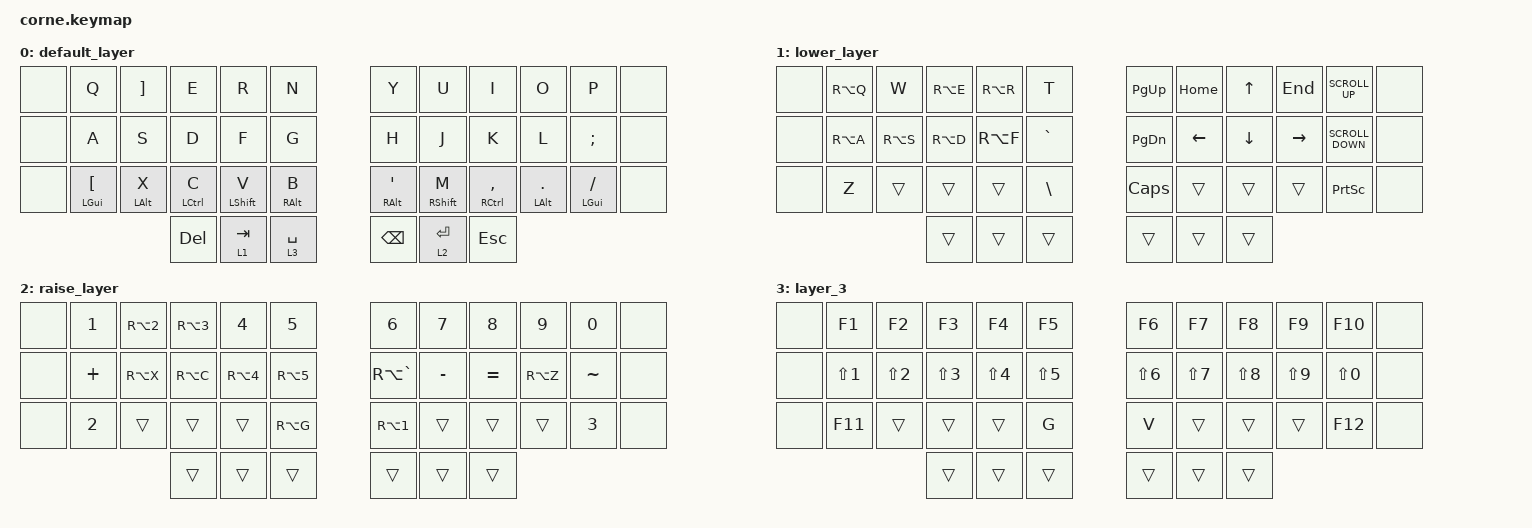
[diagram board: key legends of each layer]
/*
 * Copyright (c) 2020 The ZMK Contributors
 *
 * SPDX-License-Identifier: MIT
 */

#include <behaviors.dtsi>
#include <dt-bindings/zmk/keys.h>

/ {
    combos { compatible = "zmk,combos"; };

    keymap {
        compatible = "zmk,keymap";

        default_layer {
            // -----------------------------------------------------------------------------------------
            // |  TAB |  Q  |  W  |  E  |  R  |  T  |   |  Y  |  U   |  I  |  O  |  P  | BSPC |
            // | CTRL |  A  |  S  |  D  |  F  |  G  |   |  H  |  J   |  K  |  L  |  ;  |  '   |
            // | SHFT |  Z  |  X  |  C  |  V  |  B  |   |  N  |  M   |  ,  |  .  |  /  | ESC  |
            //                    | GUI | LWR | SPC |   | ENT | RSE  | ALT |

            bindings = <
&none  &kp Q                  &kp RIGHT_BRACKET  &kp E               &kp R             &kp N              &kp Y               &kp U              &kp I            &kp O                &kp P           &none
&none  &kp A                  &kp S              &kp D               &kp F             &kp G              &kp H               &kp J              &kp K            &kp L                &kp SEMICOLON   &none
&none  &mt LGUI LEFT_BRACKET  &mt LEFT_ALT X     &mt LEFT_CONTROL C  &mt LEFT_SHIFT V  &mt RIGHT_ALT B    &mt RIGHT_ALT APOS  &mt RIGHT_SHIFT M  &mt RCTRL COMMA  &mt LEFT_ALT PERIOD  &mt LGUI SLASH  &none
                                                 &kp DELETE          &lt 1 TAB         &lt 3 SPACE        &kp BACKSPACE       &lt 2 ENTER        &kp ESC
            >;
        };

        lower_layer {
            // -----------------------------------------------------------------------------------------
            // |  TAB |  1  |  2  |  3  |  4  |  5  |   |  6  |  7  |  8  |  9  |  0  | BSPC |
            // | BTCLR| BT1 | BT2 | BT3 | BT4 | BT5 |   | LFT | DWN |  UP | RGT |     |      |
            // | SHFT |     |     |     |     |     |   |     |     |     |     |     |      |
            //                    | GUI |     | SPC |   | ENT |     | ALT |

            bindings = <
&none  &kp RA(Q)  &kp W      &kp RA(E)  &kp RA(R)  &kp T            &kp PG_UP      &kp HOME        &kp UP_ARROW    &kp END    &kp K_SCROLL_UP    &none
&none  &kp RA(A)  &kp RA(S)  &kp RA(D)  &kp RA(F)  &kp GRAVE        &kp PAGE_DOWN  &kp LEFT_ARROW  &kp DOWN_ARROW  &kp RIGHT  &kp K_SCROLL_DOWN  &none
&none  &kp Z      &trans     &trans     &trans     &kp BACKSLASH    &kp CAPSLOCK   &trans          &trans          &trans     &kp PRINTSCREEN    &none
                             &trans     &trans     &trans           &trans         &trans          &trans
            >;
        };

        raise_layer {
            // -----------------------------------------------------------------------------------------
            // |  TAB |  !  |  @  |  #  |  $  |  %  |   |  ^  |  &  |  *  |  (  |  )  | BSPC |
            // | CTRL |     |     |     |     |     |   |  -  |  =  |  [  |  ]  |  \  |  `   |
            // | SHFT |     |     |     |     |     |   |  _  |  +  |  {  |  }  | "|" |  ~   |
            //                    | GUI |     | SPC |   | ENT |     | ALT |

            bindings = <
&none  &kp NUMBER_1  &kp RA(NUMBER_2)  &kp RA(NUMBER_3)  &kp NUMBER_4      &kp NUMBER_5        &kp NUMBER_6      &kp NUMBER_7  &kp N8     &kp N9     &kp NUMBER_0  &none
&none  &kp PLUS      &kp RA(X)         &kp RA(C)         &kp RA(NUMBER_4)  &kp RA(NUMBER_5)    &kp RA(GRAVE)     &kp MINUS     &kp EQUAL  &kp RA(Z)  &kp TILDE     &none
&none  &kp NUMBER_2  &trans            &trans            &trans            &kp RA(G)           &kp RA(NUMBER_1)  &trans        &trans     &trans     &kp NUMBER_3  &none
                                       &trans            &trans            &trans              &trans            &trans        &trans
            >;
        };

        layer_3 {
            bindings = <
&none  &kp F1            &kp F2            &kp F3            &kp F4            &kp F5              &kp F6            &kp F7            &kp F8            &kp F9      &kp F10           &none
&none  &kp LS(NUMBER_1)  &kp LS(NUMBER_2)  &kp LS(NUMBER_3)  &kp LS(NUMBER_4)  &kp LS(NUMBER_5)    &kp LS(NUMBER_6)  &kp LS(NUMBER_7)  &kp LS(NUMBER_8)  &kp LS(N9)  &kp LS(NUMBER_0)  &none
&none  &kp F11           &trans            &trans            &trans            &kp G               &kp V             &trans            &trans            &trans      &kp F12           &none
                                           &trans            &trans            &trans              &trans            &trans            &trans
            >;
        };
    };
};
